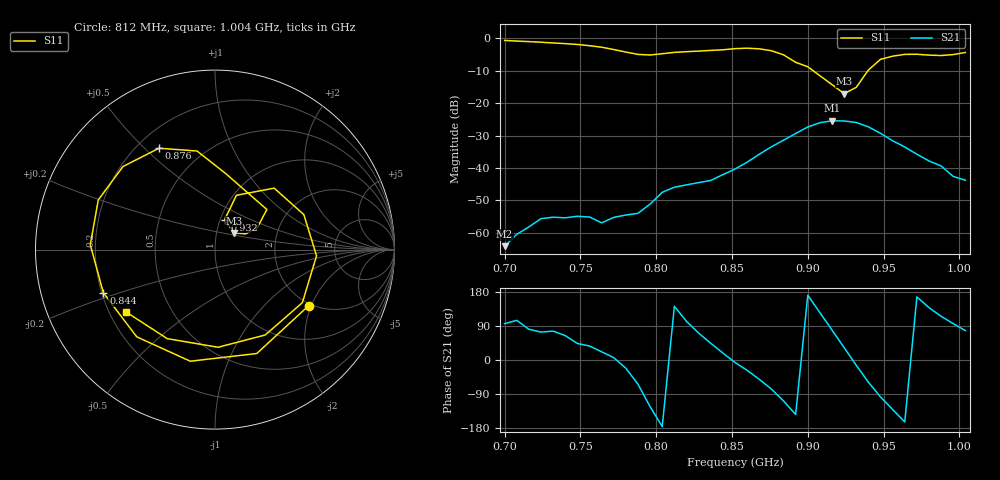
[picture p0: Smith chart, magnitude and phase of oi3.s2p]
# Hz S RI R 50
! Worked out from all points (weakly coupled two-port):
!   39 points, 700 MHz to 1.004 GHz, reference 50 ohm
!   highest |S21| = -25.43 dB at 916 MHz (marker M1); lowest = -64.1 dB at 700 MHz (marker M2)
!   lowest |S11| = -17.0 dB at 924 MHz (marker M3), VSWR 1.33, Z = 60.6 + j11.5 ohm
!   |S11| at or under -10 dB: 903.6 MHz to 939.6 MHz (36.01 MHz wide, 3.91 % of centre)
!   S12 and S22 are empty: the file has one direction only
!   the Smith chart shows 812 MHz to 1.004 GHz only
!   S11 on the Smith chart (normalised r, x): 812 MHz: 1.94, -1.92; 844 MHz: 0.21, -0.18; 876 MHz: 0.29, +0.55; 932 MHz: 1.05, +0.36; 1.004 GHz: 0.27, -0.29
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7e8  0.7659 0.5271  -6.48e-05 0.000619  0 0  0 0
7.24e8  0.8334 -0.2608  0.000463 0.00159  0 0  0 0
7.4e8  0.4452 -0.7018  0.000738 0.00154  0 0  0 0
7.56e8  -0.1972 -0.7461  0.0014 0.00105  0 0  0 0
7.72e8  -0.6469 -0.1844  0.00172 0.000186  0 0  0 0
7.8e8  -0.5691 0.2338  0.00175 -0.000701  0 0  0 0
7.88e8  -0.2139 0.5242  0.000882 -0.00179  0 0  0 0
7.96e8  0.2643 0.4879  -0.00153 -0.00232  0 0  0 0
8.04e8  0.5656 0.1303  -0.00421 -0.00031  0 0  0 0
8.12e8  0.5226 -0.3119  -0.00397 0.00313  0 0  0 0
8.28e8  -0.1378 -0.6219  0.00193 0.00563  0 0  0 0
8.44e8  -0.6221 -0.2405  0.0075 0.00249  0 0  0 0
8.52e8  -0.6947 0.0265  0.00957 -0.00108  0 0  0 0
8.76e8  -0.3119 0.5648  0.00492 -0.0207  0 0  0 0
9e8  0.289 0.2234  -0.0424 0.00685  0 0  0 0
9.08e8  0.2359 0.1228  -0.0287 0.0409  0 0  0 0
9.16e8  0.1725 0.0877  0.0102 0.0525  0 0  0 0
9.24e8  0.1055 0.093  0.0448 0.0287  0 0  0 0
9.32e8  0.0541 0.1671  0.0489 -0.0122  0 0  0 0
9.56e8  0.4951 0.1949  -0.0172 -0.02  0 0  0 0
9.8e8  0.2802 -0.4755  -0.00954 0.00857  0 0  0 0
1.004e9  -0.4983 -0.3455  0.0014 0.00633  0 0  0 0
